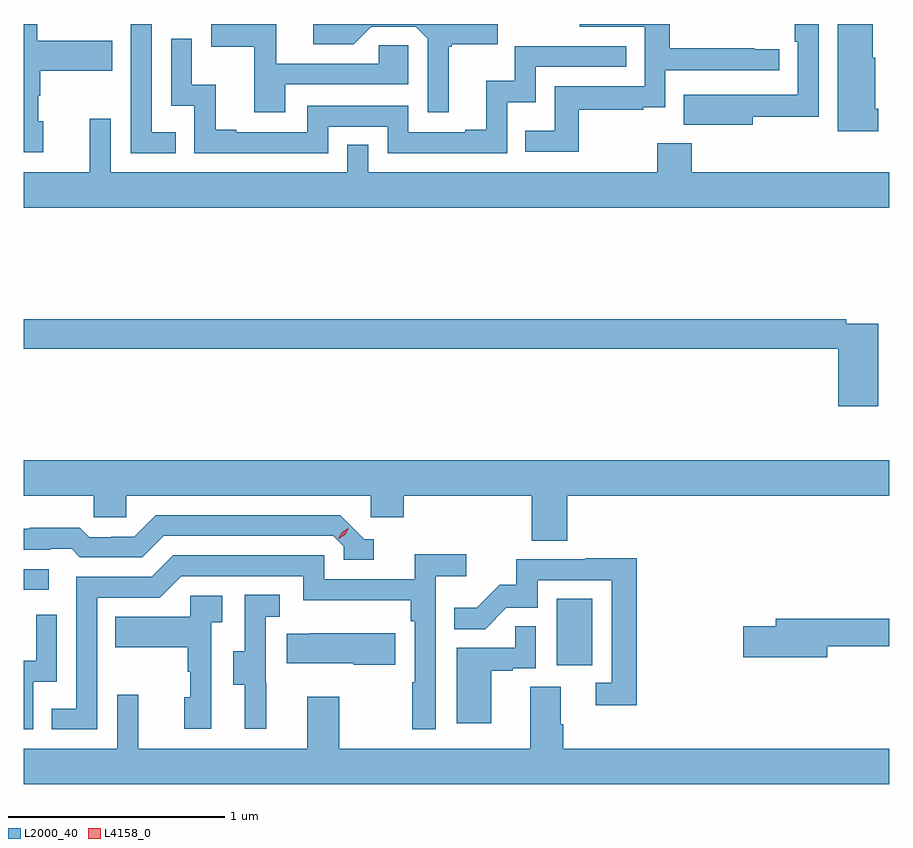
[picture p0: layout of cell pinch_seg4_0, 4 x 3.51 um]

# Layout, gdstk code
import gdstk
lib = gdstk.Library(unit=1e-6, precision=1e-09)
def R(c, l, rs):  # rectangles x0, y0, x1, y1
    for r in rs: c.add(gdstk.rectangle(r[:2], r[2:], *l))
def P(c, l, *ps):  # polygons
    for p in ps: c.add(gdstk.Polygon(p, *l))
L2000_40 = (2000, 40)
L4158_0 = (4158, 0)

pinch_seg4_0 = lib.new_cell('pinch_seg4_0')
R(pinch_seg4_0, L2000_40, [(1102.868,812.022,1103.032,812.329), (1100.404,812.37,1100.518,812.466)])
P(pinch_seg4_0, L2000_40, [(1101.107,814.485),(1100.994,814.485),(1100.994,814.986),(1100.898,814.986),(1100.898,814.389),(1101.107,814.389)],
  [(1103.773,814.558),(1104.078,814.558),(1104.078,814.986),(1103.969,814.986),(1103.969,814.904),(1103.982,814.904),(1103.982,814.659),(1103.669,814.659),(1103.669,814.66),(1103.455,814.66),(1103.455,814.52),(1103.773,814.52)],
  [(1100.494,814.536),(1100.469,814.536),(1100.469,814.655),(1100.479,814.655),(1100.479,814.769),(1100.813,814.769),(1100.813,814.909),(1100.466,814.909),(1100.466,814.986),(1100.404,814.986),(1100.404,814.392),(1100.494,814.392)],
  [(1102.369,814.881),(1102.381,814.881),(1102.381,814.892),(1102.594,814.892),(1102.594,814.986),(1101.741,814.986),(1101.741,814.893),(1101.928,814.893),(1102.009,814.974),(1102.215,814.974),(1102.272,814.917),(1102.272,814.578),(1102.369,814.578)],
  [(1101.613,814.707),(1102.182,814.707),(1102.182,814.887),(1102.045,814.887),(1102.045,814.803),(1101.571,814.803),(1101.571,814.986),(1101.27,814.986),(1101.27,814.881),(1101.469,814.881),(1101.469,814.578),(1101.613,814.578)],
  [(1102.969,814.59),(1103.267,814.59),(1103.267,814.601),(1103.37,814.601),(1103.37,814.773),(1103.896,814.773),(1103.896,814.869),(1103.783,814.869),(1103.783,814.874),(1103.39,814.874),(1103.39,814.986),(1102.973,814.986),(1102.973,814.974),(1103.274,814.974),(1103.274,814.698),(1102.858,814.698),(1102.858,814.492),(1102.723,814.492),(1102.723,814.395),(1102.969,814.395)],
  [(1104.353,814.594),(1104.34,814.594),(1104.34,814.83),(1104.328,814.83),(1104.328,814.986),(1104.167,814.986),(1104.167,814.49),(1104.353,814.49)],
  [(1101.81,814.512),(1102.086,814.512),(1102.086,814.389),(1102.638,814.389),(1102.638,814.625),(1102.77,814.625),(1102.77,814.788),(1103.189,814.788),(1103.189,814.884),(1102.674,814.884),(1102.674,814.723),(1102.541,814.723),(1102.541,814.498),(1102.445,814.498),(1102.445,814.485),(1102.182,814.485),(1102.182,814.608),(1101.714,814.608),(1101.714,814.485),(1101.385,814.485),(1101.385,814.498),(1101.29,814.498),(1101.29,814.706),(1101.18,814.706),(1101.18,814.918),(1101.084,814.918),(1101.084,814.608),(1101.192,814.608),(1101.192,814.389),(1101.81,814.389)],
  [(1104.404,814.3),(1103.492,814.3),(1103.492,814.435),(1103.332,814.435),(1103.332,814.3),(1101.996,814.3),(1101.996,814.427),(1101.9,814.427),(1101.9,814.3),(1100.805,814.3),(1100.805,814.549),(1100.708,814.549),(1100.708,814.3),(1100.404,814.3),(1100.404,814.136),(1104.404,814.136)],
  [(1104.353,813.6),(1104.206,813.6),(1104.206,813.62),(1100.404,813.62),(1100.404,813.484),(1104.17,813.484),(1104.17,813.219),(1104.353,813.219)],
  [(1102.916,812.804),(1104.404,812.804),(1104.404,812.968),(1100.404,812.968),(1100.404,812.804),(1100.727,812.804),(1100.727,812.706),(1100.877,812.706),(1100.877,812.804),(1102.008,812.804),(1102.008,812.706),(1102.16,812.706),(1102.16,812.804),(1102.751,812.804),(1102.751,812.596),(1102.916,812.596)],
  [(1102.021,812.604),(1101.978,812.604),(1101.867,812.715),(1101.014,812.715),(1100.915,812.616),(1100.808,812.616),(1100.808,812.613),(1100.705,812.613),(1100.663,812.656),(1100.43,812.656),(1100.43,812.653),(1100.404,812.653),(1100.404,812.556),(1100.525,812.556),(1100.525,812.559),(1100.624,812.559),(1100.663,812.52),(1100.952,812.52),(1101.051,812.619),(1101.834,812.619),(1101.882,812.571),(1101.882,812.508),(1102.021,812.508)],
  [(1100.742,812.334),(1101.033,812.334),(1101.132,812.433),(1101.696,812.433),(1101.696,812.321),(1102.192,812.321),(1102.192,812.225),(1102.212,812.225),(1102.212,811.943),(1102.2,811.943),(1102.2,811.725),(1102.308,811.725),(1102.308,812.432),(1102.45,812.432),(1102.45,812.534),(1102.211,812.534),(1102.211,812.418),(1101.792,812.418),(1101.792,812.529),(1101.095,812.529),(1100.996,812.43),(1100.646,812.43),(1100.646,811.821),(1100.533,811.821),(1100.533,811.725),(1100.742,811.725)],
  [(1103.237,812.516),(1102.999,812.516),(1102.999,812.511),(1102.681,812.511),(1102.681,812.394),(1102.604,812.394),(1102.497,812.287),(1102.393,812.287),(1102.393,812.188),(1102.537,812.188),(1102.635,812.286),(1102.779,812.286),(1102.779,812.415),(1103.121,812.415),(1103.121,811.941),(1103.049,811.941),(1103.049,811.836),(1103.237,811.836)],
  [(1101.524,811.941),(1101.522,811.941),(1101.522,812.245),(1101.586,812.245),(1101.586,812.348),(1101.426,812.348),(1101.426,812.085),(1101.371,812.085),(1101.371,811.93),(1101.425,811.93),(1101.425,811.728),(1101.524,811.728)],
  [(1101.27,812.219),(1101.322,812.219),(1101.322,812.343),(1101.174,812.343),(1101.174,812.245),(1100.827,812.245),(1100.827,812.105),(1101.162,812.105),(1101.162,811.991),(1101.172,811.991),(1101.172,811.872),(1101.146,811.872),(1101.146,811.728),(1101.27,811.728)],
  [(1100.448,811.944),(1100.556,811.944),(1100.556,812.254),(1100.46,812.254),(1100.46,812.042),(1100.404,812.042),(1100.404,811.725),(1100.448,811.725)],
  [(1104.118,812.109),(1104.404,812.109),(1104.404,812.237),(1103.879,812.237),(1103.879,812.201),(1103.73,812.201),(1103.73,812.059),(1104.118,812.059)],
  [(1102.564,811.995),(1102.664,811.995),(1102.664,812.007),(1102.77,812.007),(1102.77,812.201),(1102.675,812.201),(1102.675,812.103),(1102.406,812.103),(1102.406,811.752),(1102.564,811.752)],
  [(1102.12,812.17),(1101.727,812.17),(1101.727,812.167),(1101.619,812.167),(1101.619,812.03),(1101.929,812.03),(1101.929,812.023),(1102.12,812.023)],
  [(1104.404,811.636),(1102.898,811.636),(1102.898,811.748),(1102.885,811.748),(1102.885,811.922),(1102.745,811.922),(1102.745,811.636),(1101.861,811.636),(1101.861,811.876),(1101.713,811.876),(1101.713,811.636),(1100.933,811.636),(1100.933,811.885),(1100.835,811.885),(1100.835,811.636),(1100.404,811.636),(1100.404,811.472),(1104.404,811.472)])
P(pinch_seg4_0, L4158_0, [(1101.858,812.605),(1101.858,812.605),(1101.875,812.637),(1101.905,812.656),(1101.906,812.656),(1101.906,812.656),(1101.889,812.624),(1101.859,812.605)])

lib.write_gds('pinch_seg4_0.gds')
